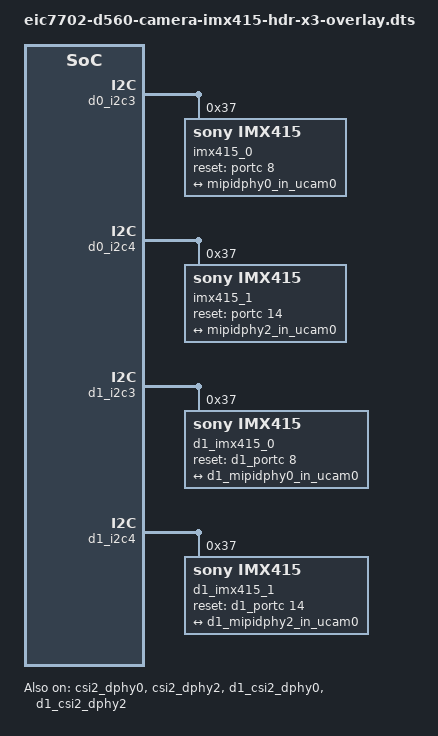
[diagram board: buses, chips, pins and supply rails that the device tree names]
/dts-v1/;
/plugin/;

/ {
    fragment@0 {
		target =  <&camera_imx219>;
		__overlay__ { 
			status = "disabled";
		};
	};

	fragment@1 {
		target =  <&camera_imx219_1>;
		__overlay__ { 
			status = "disabled";
		};
	};

    fragment@2 {
		target =  <&d1_camera_imx219>;
		__overlay__ { 
			status = "disabled";
		};
	};

	fragment@3 {
		target =  <&d1_camera_imx219_1>;
		__overlay__ { 
			status = "disabled";
		};
	};

	fragment@4 { 
		target = <&mipidphy0_in_ucam0>;
		__overlay__ {
			remote-endpoint = <&imx415_out0>;
			data-lanes = <1 2 3 4>;
		};
	};

	fragment@5 {
		target = <&mipidphy2_in_ucam0>;
		__overlay__ {
			remote-endpoint = <&imx415_out1>;
			data-lanes = <1 2 3 4>;
		};
	};

	fragment@6 {
		target = <&d1_mipidphy0_in_ucam0>;
		__overlay__ {
			remote-endpoint = <&d1_imx415_out0>;
			data-lanes = <1 2 3 4>;
		};
	};

	fragment@7 {
		target = <&d1_mipidphy2_in_ucam0>;
		__overlay__ {
			remote-endpoint = <&d1_imx415_out1>;
			data-lanes = <1 2 3 4>;
		};
	};

	fragment@8 {
		target = <&csi2_dphy0>;
		__overlay__ {
			status = "okay";
		};
	};

	fragment@9 {
		target = <&csi2_dphy2>;
		__overlay__ {
			status = "okay";
		};
	};

	fragment@10 {
		target = <&d1_csi2_dphy0>;
		__overlay__ {
			status = "okay";
		};
	};

	fragment@11 {
		target = <&d1_csi2_dphy2>;
		__overlay__ {
			status = "okay";
		};
	};

	fragment@12 {
		target = <&d0_i2c3>;
		__overlay__ {
			#address-cells = <1>;
			#size-cells = <0>;
			imx415_0: imx415@37 {
				compatible = "sony,imx415";
				reg = <0x37>;
				clock-names="inck";
				clocks = <&d0_clock 0x244>;
				assigned-clocks = <&d0_clock 0x244>;
				assigned-clock-rates = <37125000>;
				reset-gpio = <&portc 8 0>;
                eswin,camera-hdr-mode = <2>;
				status = "okay";
				port {
					imx415_out0: endpoint {
						remote-endpoint = <&mipidphy0_in_ucam0>;
						data-lanes = <1 2 3 4>;
						link-frequencies = /bits/ 64 <742500000>;
					};
				};
			};
		};
	};

	fragment@13 {
		target = <&d0_i2c4>;
		__overlay__ {
			#address-cells = <1>;
			#size-cells = <0>;
			imx415_1: imx415@37 {
				compatible = "sony,imx415";
				reg = <0x37>;
				clock-names="inck";
				clocks = <&d0_clock 0x244>;
				assigned-clocks = <&d0_clock 0x244>;
				assigned-clock-rates = <37125000>;
				reset-gpio = <&portc 14 0>;
                eswin,camera-hdr-mode = <2>;
				status = "okay";
				port {
					imx415_out1: endpoint {
						remote-endpoint = <&mipidphy2_in_ucam0>;
						data-lanes = <1 2 3 4>;
						link-frequencies = /bits/ 64 <742500000>;
					};
				};
			};
		};
	};

	fragment@14 {
		target = <&d1_i2c3>;
		__overlay__ {
			#address-cells = <1>;
			#size-cells = <0>;
			d1_imx415_0: imx415@37 {
				compatible = "sony,imx415";
				reg = <0x37>;
				clock-names="inck";
				clocks = <&d1_clock 0x244>;
				assigned-clocks = <&d1_clock 0x244>;
				assigned-clock-rates = <37125000>;
				reset-gpio = <&d1_portc 8 0>;
                eswin,camera-hdr-mode = <2>;
				status = "okay";
				port {
					d1_imx415_out0: endpoint {
						remote-endpoint = <&d1_mipidphy0_in_ucam0>;
						data-lanes = <1 2 3 4>;
						link-frequencies = /bits/ 64 <742500000>;
					};
				};
			};
		};
	};

	fragment@15 {
		target = <&d1_i2c4>;
		__overlay__ {
			#address-cells = <1>;
			#size-cells = <0>;
			d1_imx415_1: imx415@37 {
				compatible = "sony,imx415";
				reg = <0x37>;
				clock-names="inck";
				clocks = <&d1_clock 0x244>;
				assigned-clocks = <&d1_clock 0x244>;
				assigned-clock-rates = <37125000>;
				reset-gpio = <&d1_portc 14 0>;
                eswin,camera-hdr-mode = <2>;
				status = "okay";
				port {
					d1_imx415_out1: endpoint {
						remote-endpoint = <&d1_mipidphy2_in_ucam0>;
						data-lanes = <1 2 3 4>;
						link-frequencies = /bits/ 64 <742500000>;
					};
				};
			};
		};
	};

    fragment@16 {
		target = <&mipi_csi2_0>;
		__overlay__ {
			eswin,csi-hdr-mode = <2>;
		};
	};

	fragment@17 {
		target = <&mipi_csi2_2>;
		__overlay__ {
			eswin,csi-hdr-mode = <2>;
		};
	};

    fragment@18 {
		target = <&d1_mipi_csi2_0>;
		__overlay__ {
			eswin,csi-hdr-mode = <2>;
		};
	};

	fragment@19 {
		target = <&d1_mipi_csi2_2>;
		__overlay__ {
			eswin,csi-hdr-mode = <2>;
		};
	};

	fragment@20 {
		target = <&dvp2axi_mipi_lvds0>;
		__overlay__ {
			eswin,dvp2axi-hdr-mode = <2>;
		};
	};

	fragment@21 {
		target = <&dvp2axi_mipi_lvds1>;
		__overlay__ {
			eswin,dvp2axi-hdr-mode = <2>;
		};
	};

	fragment@22 {
		target = <&dvp2axi_mipi_lvds2>;
		__overlay__ {
			eswin,dvp2axi-hdr-mode = <2>;
		};
	};

	fragment@23 {
		target = <&d1_dvp2axi_mipi_lvds0>;
		__overlay__ {
			eswin,dvp2axi-hdr-mode = <2>;
		};
	};

	fragment@24 {
		target = <&d1_dvp2axi_mipi_lvds1>;
		__overlay__ {
			eswin,dvp2axi-hdr-mode = <2>;
		};
	};

	fragment@25 {
		target = <&d1_dvp2axi_mipi_lvds2>;
		__overlay__ {
			eswin,dvp2axi-hdr-mode = <2>;
		};
	};
};

